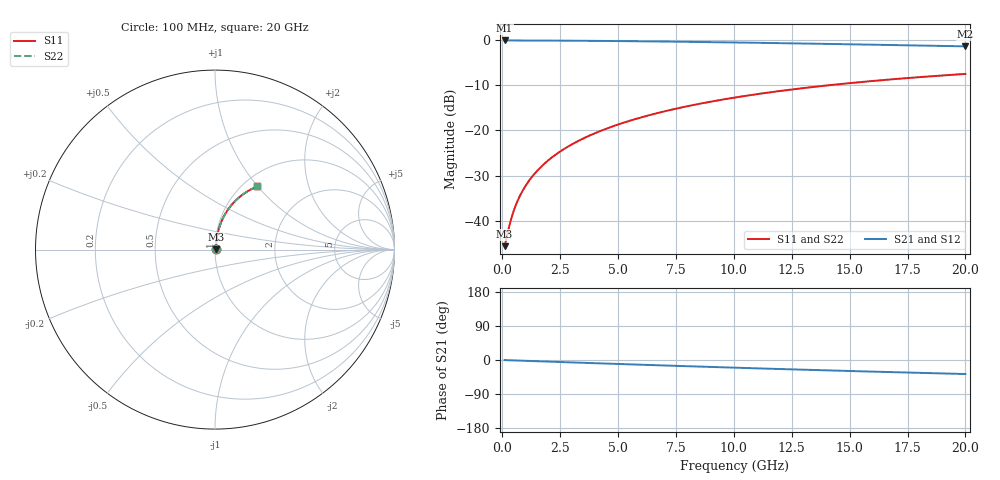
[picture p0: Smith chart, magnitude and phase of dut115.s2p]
! Touchstone file exported from HFSS 2024.1.0
!  File:  C:/UserFiles/LocalFiles/RDL_TSV_Batchsim/temp_RDL_top_115_1778683771.aedt
!  Generated:  10:51:55 PM May 13, 2026
!  Design:  RDL_top
!  Project:  temp_RDL_top_115_1778683771
!  Setup:  Setup1
!  Solution:  Sweep
! Variables:
!  dtsv = 10.80580581um
!  hbump = 3um
!  htsv = 75.07um
!  ldown = 100um
!  lrdl = 449.79um
!  p = 40
!  p1 = 51.02um
!  rhole = 1um
!  t = 450um
!  tdown = 3.915915916um
!  trdl = 2.48um
!  wdown = 15.38538539um
!  wrdl = 14.49um
# GHz S MA R 50.000000
! Terminal data exported
! Port[1] = Box2_T1
! Port[2] = Box2_T2
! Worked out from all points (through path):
!   200 points, 100 MHz to 20 GHz, reference 50 ohm
!   highest |S21| = -0.04 dB at 100 MHz (marker M1); lowest = -1.3 dB at 20 GHz (marker M2)
!   group delay of S21, straight-line fit = 5.14 ps
!   lowest |S11| = -45.7 dB at 100 MHz (marker M3), VSWR 1.01, Z = 50.5 + j0.246 ohm
!   |S11| at or under -10 dB: start of sweep to 14.05 GHz
!   |S22| runs from -45.7 to -7.5 dB; largest |S21 - S12| = 3.1e-15
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0.1  0.005213 27.9  0.9954 -0.2  0.9954 -0.2  0.005213 27.9
! Gamma 0 0 0 0
! Port Impedance 50 0 50 0
0.3  0.008692 56.7  0.9952 -0.7  0.9952 -0.7  0.008692 56.7
0.4  0.01082 63.0  0.9951 -0.9  0.9951 -0.9  0.01082 63.0
0.5  0.01301 67.2  0.9949 -1.1  0.9949 -1.1  0.01301 67.2
0.6  0.01524 70.0  0.9948 -1.3  0.9948 -1.3  0.01524 70.0
0.7  0.01748 72.1  0.9946 -1.5  0.9946 -1.5  0.01748 72.1
0.9  0.02198 75.0  0.9943 -2.0  0.9943 -2.0  0.02198 75.0
1.2  0.02875 77.5  0.9938 -2.6  0.9938 -2.6  0.02875 77.5
1.4  0.03329 78.6  0.9934 -3.0  0.9934 -3.0  0.03329 78.6
1.7  0.04012 79.6  0.9928 -3.6  0.9928 -3.6  0.04012 79.6
2.2  0.05156 80.6  0.9915 -4.7  0.9915 -4.7  0.05156 80.6
2.8  0.06537 80.9  0.9897 -6.0  0.9897 -6.0  0.06537 80.9
3.5  0.08157 80.8  0.9872 -7.4  0.9872 -7.4  0.08157 80.8
4.2  0.09782 80.4  0.9842 -8.9  0.9842 -8.9  0.09782 80.4
5  0.1164 79.6  0.9802 -10.5  0.9802 -10.5  0.1164 79.6
5.9  0.1374 78.5  0.9751 -12.3  0.9751 -12.3  0.1374 78.5
6.8  0.1582 77.3  0.9695 -14.1  0.9695 -14.1  0.1582 77.3
8.4  0.1949 74.9  0.9584 -17.2  0.9584 -17.2  0.1949 74.9
10.1  0.233 72.1  0.9453 -20.4  0.9453 -20.4  0.233 72.1
13.4  0.3031 66.6  0.9173 -26.3  0.9173 -26.3  0.3031 66.6
16.7  0.3668 61.3  0.8872 -31.8  0.8872 -31.8  0.3668 61.3
20  0.4234 56.1  0.8563 -37.0  0.8563 -37.0  0.4235 56.1
